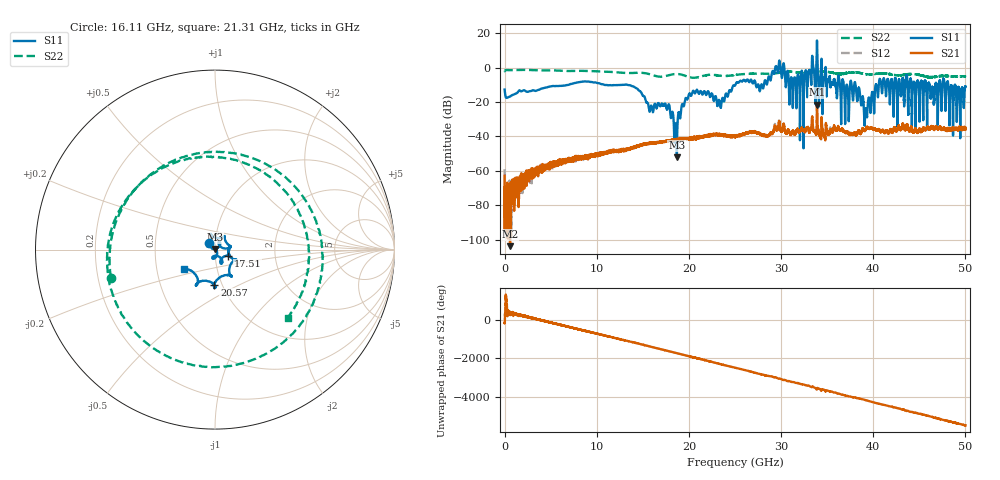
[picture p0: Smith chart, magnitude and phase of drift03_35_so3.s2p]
!Created with skrf (http://scikit-rf.org).
# Hz S RI R 50.0
!freq ReS11 ImS11 ReS21 ImS21 ReS12 ImS12 ReS22 ImS22
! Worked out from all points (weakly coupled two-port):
!   10001 points, 300 kHz to 50 GHz, reference 50 ohm
!   highest |S21| = -21.45 dB at 33.9 GHz (marker M1); lowest = -103.8 dB at 590.3 MHz (marker M2)
!   lowest |S11| = -52.2 dB at 18.69 GHz (marker M3), VSWR 1.00, Z = 49.9 + j0.222 ohm
!   |S11| at or under -10 dB: start of sweep to 6.943 GHz; 13.32 GHz to 25.04 GHz (11.72 GHz wide, 61.1 % of centre); 38.08 GHz to 40.26 GHz (2.181 GHz wide, 5.57 % of centre) (the widest 3 of 56)
!   |S22| runs from -5.9 to -1.3 dB; largest |S21 - S12| = 0.0068
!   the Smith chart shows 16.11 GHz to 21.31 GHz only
!   S11 on the Smith chart (normalised r, x): 16.11 GHz: 0.93, +0.07; 17.51 GHz: 1.15, -0.08; 20.57 GHz: 0.92, -0.38; 21.31 GHz: 0.69, -0.16
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300000  -0.2095 -0.0966  -0.000493 -0.000521  -0.000795 0.000786  -0.7694 -0.1861
5.902965e8  -0.0516 0.1347  -1.66e-06 -6.28e-06  6.38e-05 5.28e-05  -0.308 0.786
2.335286e9  0.0221 -0.2013  -0.000461 0.000165  -0.000683 2.9e-05  0.0899 -0.8521
3.935276e9  -0.0196 0.2403  0.000933 -4.16e-05  0.0015 -0.000192  -0.0301 0.8318
5.470267e9  0.0682 -0.2818  -0.00148 0.000209  -0.00169 8.97e-05  0.1699 -0.8086
8.33525e9  0.2837 -0.2677  -0.00199 -0.000893  -0.00237 -0.000916  0.6022 -0.5352
1.043024e10  -0.0425 0.3325  0.00275 -0.00189  0.00244 -0.00178  -0.0379 0.7704
1.201523e10  0.00726 -0.3092  -0.00284 0.00256  -0.00277 0.00235  0.1076 -0.7283
1.372522e10  -0.0258 0.2988  0.00244 -0.00373  0.00255 -0.0038  -0.0705 0.6935
1.61102e10  -0.0329 0.0394  0.00593 0.00217  0.00606 0.00222  -0.5795 -0.1567
1.66702e10  0.0537 0.0755  0.00487 -0.00492  0.00466 -0.00466  -0.3592 0.4188
1.750519e10  0.0718 -0.0354  -0.00604 -0.00412  -0.00596 -0.0042  0.48 0.3095
1.869019e10  -0.00104 0.00222  0.00239 0.0079  0.00253 0.0077  -0.0812 -0.6473
2.056518e10  -0.00334 -0.1968  -0.00807 -0.00519  -0.00746 -0.0042  0.3686 0.3494
2.131017e10  -0.1721 -0.11  -0.00534 0.00759  -0.00472 0.00829  0.4043 -0.3817
2.500015e10  -0.2977 -0.0487  0.00823 0.0066  0.00774 0.00672  -0.1849 -0.5805
3.051012e10  0.249 -0.1061  -0.00213 0.012  -0.00241 0.0127  0.7416 -0.0597
3.213011e10  0.2022 0.3676  -0.000358 -0.0154  -7.59e-05 -0.0149  -0.6988 -0.000317
3.33351e10  0.449 -0.9968  -0.00479 0.0251  -0.00579 0.0243  0.6142 0.3655
3.38951e10  -0.8199 -6.097  0.0843 0.00734  0.0801 0.00297  0.6795 -0.3223
4.167005e10  -0.2233 0.2823  -0.0115 -0.00473  -0.012 -0.00493  -0.6519 -0.0546
5e10  -0.1473 -0.2463  0.00112 -0.0158  0.00183 -0.0179  0.4675 -0.3153
